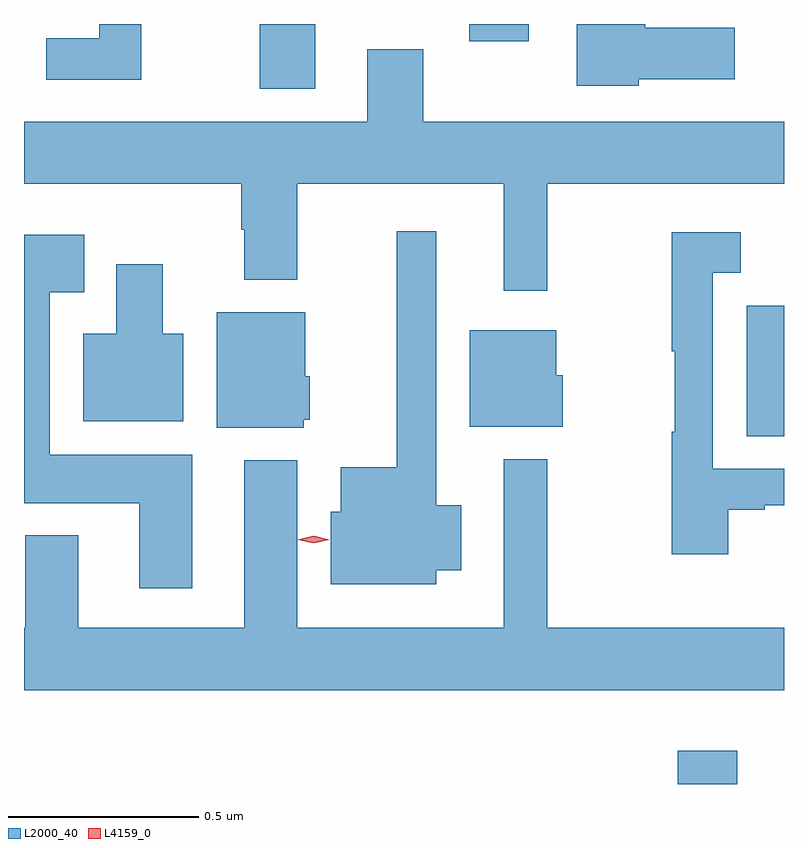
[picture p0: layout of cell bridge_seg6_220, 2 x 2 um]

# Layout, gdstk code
import gdstk
lib = gdstk.Library(unit=1e-6, precision=1e-09)
def R(c, l, rs):  # rectangles x0, y0, x1, y1
    for r in rs: c.add(gdstk.rectangle(r[:2], r[2:], *l))
def P(c, l, *ps):  # polygons
    for p in ps: c.add(gdstk.Polygon(p, *l))
L2000_40 = (2000, 40)
L4159_0 = (4159, 0)

bridge_seg6_220 = lib.new_cell('bridge_seg6_220')
R(bridge_seg6_220, L2000_40, [(135.168,977.725,135.325,977.812), (135.35,978.64,135.448,978.984), (134.068,979.554,134.215,979.725), (134.62,979.68,134.776,979.725)])
P(bridge_seg6_220, L2000_40, [(133.756,979.725),(133.646,979.725),(133.646,979.687),(133.506,979.687),(133.506,979.578),(133.756,979.578)],
  [(135.066,979.58),(135.319,979.58),(135.319,979.715),(135.083,979.715),(135.083,979.725),(134.903,979.725),(134.903,979.562),(135.066,979.562)],
  [(134.825,979.304),(135.448,979.304),(135.448,979.468),(134.499,979.468),(134.499,979.658),(134.351,979.658),(134.351,979.468),(133.448,979.468),(133.448,979.304),(134.02,979.304),(134.02,979.184),(134.027,979.184),(134.027,979.052),(134.167,979.052),(134.167,979.304),(134.711,979.304),(134.711,979.023),(134.825,979.023)],
  [(134.533,978.287),(134.599,978.287),(134.599,978.458),(134.533,978.458),(134.533,979.18),(134.429,979.18),(134.429,978.559),(134.282,978.559),(134.282,978.441),(134.255,978.441),(134.255,978.251),(134.533,978.251)],
  [(135.301,978.447),(135.397,978.447),(135.397,978.459),(135.448,978.459),(135.448,978.555),(135.261,978.555),(135.261,979.071),(135.334,979.071),(135.334,979.177),(135.153,979.177),(135.153,978.864),(135.16,978.864),(135.16,978.652),(135.153,978.652),(135.153,978.33),(135.301,978.33)],
  [(133.891,978.592),(133.516,978.592),(133.516,979.019),(133.606,979.019),(133.606,979.171),(133.448,979.171),(133.448,978.464),(133.751,978.464),(133.751,978.24),(133.891,978.24)],
  [(133.867,978.91),(133.813,978.91),(133.813,979.093),(133.691,979.093),(133.691,978.91),(133.604,978.91),(133.604,978.68),(133.867,978.68)],
  [(134.184,978.684),(134.2,978.684),(134.2,978.798),(134.188,978.798),(134.188,978.967),(133.955,978.967),(133.955,978.662),(134.184,978.662)],
  [(134.866,978.801),(134.848,978.801),(134.848,978.919),(134.621,978.919),(134.621,978.665),(134.866,978.665)],
  [(135.448,978.136),(134.825,978.136),(134.825,978.58),(134.711,978.58),(134.711,978.136),(134.167,978.136),(134.167,978.577),(134.027,978.577),(134.027,978.136),(133.591,978.136),(133.591,978.379),(133.451,978.379),(133.451,978.136),(133.448,978.136),(133.448,977.972),(135.448,977.972)])
P(bridge_seg6_220, L4159_0, [(134.21,978.358),(134.169,978.368),(134.168,978.368),(134.169,978.368),(134.21,978.378),(134.251,978.368),(134.251,978.368),(134.251,978.368)])

lib.write_gds('bridge_seg6_220.gds')
